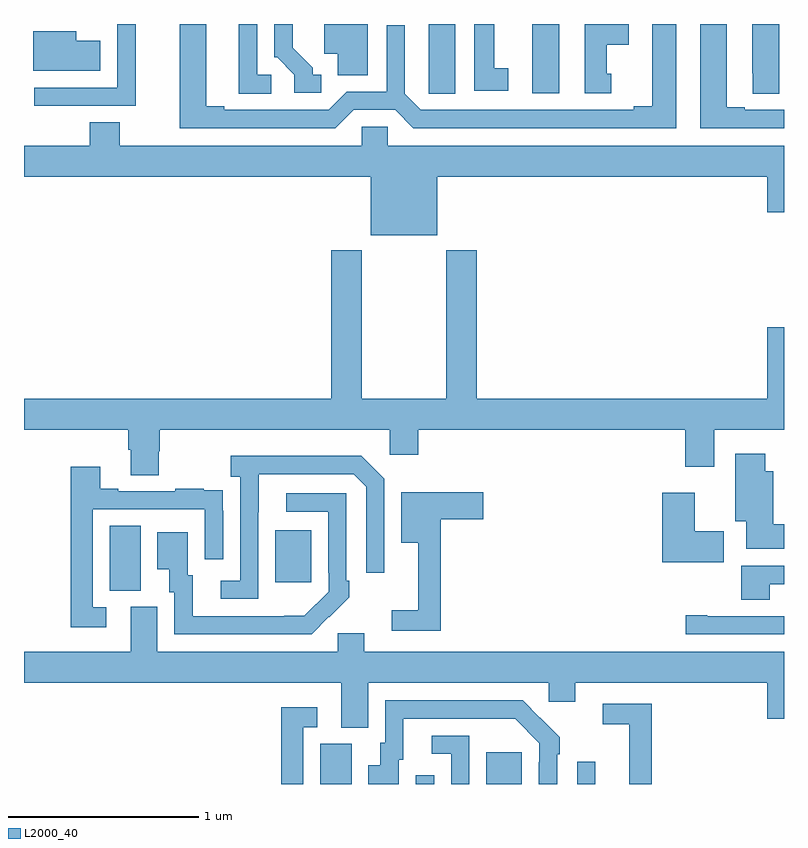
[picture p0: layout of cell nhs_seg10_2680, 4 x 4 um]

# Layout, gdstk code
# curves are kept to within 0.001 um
import gdstk
lib = gdstk.Library(unit=1e-6, precision=1e-09)
def R(c, l, rs):  # rectangles x0, y0, x1, y1
    for r in rs: c.add(gdstk.rectangle(r[:2], r[2:], *l))
def P(c, l, *ps):  # polygons
    for p in ps: c.add(gdstk.Polygon(p, *l))
L2000_40 = (2000, 40)

nhs_seg10_2680 = lib.new_cell('nhs_seg10_2680')
R(nhs_seg10_2680, L2000_40, [(258.56,1250.5,258.724,1250.712), (259.062,1250.5,259.158,1250.545), (259.433,1250.5,259.621,1250.668), (259.911,1250.5,260.007,1250.617), (257.45,1251.517,257.614,1251.86), (258.323,1251.561,258.511,1251.835), (259.676,1254.135,259.816,1254.5)])
P(nhs_seg10_2680, L2000_40, [(258.301,1254.234),(258.228,1254.234),(258.228,1254.5),(258.131,1254.5),(258.131,1254.133),(258.301,1254.133)],
  [(257.589,1254.5),(257.49,1254.5),(257.49,1254.165),(257.055,1254.165),(257.055,1254.069),(257.589,1254.069)],
  [(258.808,1254.5),(258.581,1254.5),(258.581,1254.344),(258.65,1254.344),(258.65,1254.229),(258.808,1254.229)],
  [(258.735,1254.048),(258.953,1254.048),(259.049,1253.952),(260.434,1253.952),(260.434,1254.5),(260.306,1254.5),(260.306,1254.068),(260.21,1254.068),(260.21,1254.048),(259.089,1254.048),(259.005,1254.132),(259.005,1254.493),(258.909,1254.493),(258.909,1254.144),(258.699,1254.144),(258.603,1254.048),(258.055,1254.048),(258.055,1254.068),(257.959,1254.068),(257.959,1254.5),(257.819,1254.5),(257.819,1253.952),(258.639,1253.952)],
  [(260.974,1254.5),(260.834,1254.5),(260.834,1254.241),(260.835,1254.241),(260.835,1254.133),(260.974,1254.133)],
  [(261,1254.048),(260.794,1254.048),(260.794,1254.063),(260.698,1254.063),(260.698,1254.5),(260.558,1254.5),(260.558,1253.952),(261,1253.952)],
  [(259.549,1254.266),(259.474,1254.266),(259.474,1254.5),(259.37,1254.5),(259.37,1254.15),(259.549,1254.15)],
  [(259.27,1254.5),(259.13,1254.5),(259.13,1254.241),(259.131,1254.241),(259.131,1254.133),(259.27,1254.133)],
  [(260.092,1254.237),(260.068,1254.237),(260.068,1254.392),(260.182,1254.392),(260.182,1254.5),(259.952,1254.5),(259.952,1254.135),(260.092,1254.135)],
  [(258.565,1254.234),(258.52,1254.234),(258.52,1254.269),(258.415,1254.374),(258.415,1254.5),(258.318,1254.5),(258.318,1254.324),(258.333,1254.324),(258.423,1254.234),(258.423,1254.138),(258.565,1254.138)],
  [(257.401,1254.412),(257.275,1254.412),(257.275,1254.463),(257.048,1254.463),(257.048,1254.254),(257.401,1254.254)],
  [(258.915,1253.958),(258.777,1253.958),(258.777,1253.86),(257.505,1253.86),(257.505,1253.984),(257.345,1253.984),(257.345,1253.86),(257,1253.86),(257,1253.696),(258.824,1253.696),(258.824,1253.387),(259.174,1253.387),(259.174,1253.696),(260.912,1253.696),(260.912,1253.508),(261,1253.508),(261,1253.86),(258.915,1253.86)],
  [(257.709,1252.251),(257.714,1252.251),(257.714,1252.364),(258.924,1252.364),(258.924,1252.233),(259.076,1252.233),(259.076,1252.364),(260.48,1252.364),(260.48,1252.17),(260.632,1252.17),(260.632,1252.364),(261,1252.364),(261,1252.903),(260.912,1252.903),(260.912,1252.528),(259.382,1252.528),(259.382,1253.308),(259.222,1253.308),(259.222,1252.528),(258.777,1252.528),(258.777,1253.308),(258.617,1253.308),(258.617,1252.528),(257,1252.528),(257,1252.364),(257.549,1252.364),(257.549,1252.258),(257.561,1252.258),(257.561,1252.126),(257.709,1252.126)],
  [(261,1251.868),(260.944,1251.868),(260.944,1252.147),(260.902,1252.147),(260.902,1252.237),(260.744,1252.237),(260.744,1251.884),(260.801,1251.884),(260.801,1251.737),(261,1251.737)],
  [(258.234,1251.931),(258.235,1252.131),(258.735,1252.131),(258.801,1252.065),(258.801,1251.612),(258.897,1251.612),(258.897,1252.107),(258.776,1252.228),(258.087,1252.228),(258.087,1252.118),(258.138,1252.118),(258.138,1251.57),(258.036,1251.57),(258.036,1251.474),(258.234,1251.474)],
  [(257.434,1251.429),(257.361,1251.429),(257.361,1251.945),(257.952,1251.945),(257.952,1251.684),(258.048,1251.684),(258.048,1251.938),(258.047,1251.938),(258.047,1252.047),(257.945,1252.047),(257.945,1252.054),(257.797,1252.054),(257.797,1252.041),(257.497,1252.041),(257.497,1252.054),(257.401,1252.054),(257.401,1252.171),(257.245,1252.171),(257.245,1251.324),(257.434,1251.324)],
  [(259.193,1251.893),(259.416,1251.893),(259.416,1252.035),(258.986,1252.035),(258.986,1251.77),(259.076,1251.77),(259.076,1251.415),(258.936,1251.415),(258.936,1251.306),(259.193,1251.306)],
  [(260.683,1251.831),(260.53,1251.831),(260.53,1252.033),(260.36,1252.033),(260.36,1251.668),(260.683,1251.668)],
  [(258.605,1251.379),(258.606,1251.378),(258.711,1251.483),(258.711,1251.571),(258.696,1251.571),(258.696,1252.029),(258.381,1252.029),(258.381,1251.933),(258.6,1251.933),(258.6,1251.613),(258.603,1251.613),(258.603,1251.513),(258.475,1251.385),(257.887,1251.384),(257.887,1251.6),(257.863,1251.6),(257.863,1251.826),(257.702,1251.826),(257.702,1251.629),(257.765,1251.629),(257.765,1251.51),(257.79,1251.51),(257.79,1251.288),(258.514,1251.288)],
  [(260.926,1251.552),(261,1251.552),(261,1251.648),(260.774,1251.648),(260.774,1251.469),(260.926,1251.469)],
  [(258.811,1251.032),(259.761,1251.032),(259.761,1250.934),(259.9,1250.934),(259.9,1251.032),(260.912,1251.032),(260.912,1250.844),(261,1250.844),(261,1251.196),(258.79,1251.196),(258.79,1251.294),(258.651,1251.294),(258.651,1251.196),(257.701,1251.196),(257.701,1251.432),(257.561,1251.432),(257.561,1251.196),(257,1251.196),(257,1251.032),(258.671,1251.032),(258.671,1250.797),(258.811,1250.797)],
  [(261,1251.384),(260.596,1251.384),(260.596,1251.389),(260.484,1251.389),(260.484,1251.288),(261,1251.288)],
  [(258.973,1250.628),(258.997,1250.628),(258.997,1250.844),(259.585,1250.844),(259.713,1250.715),(259.713,1250.615),(259.71,1250.615),(259.71,1250.5),(259.806,1250.5),(259.806,1250.657),(259.821,1250.657),(259.821,1250.745),(259.624,1250.94),(258.9,1250.94),(258.9,1250.718),(258.875,1250.718),(258.875,1250.599),(258.812,1250.599),(258.812,1250.5),(258.973,1250.5)],
  [(260.303,1250.922),(260.046,1250.922),(260.046,1250.814),(260.186,1250.814),(260.186,1250.5),(260.303,1250.5)],
  [(258.471,1250.799),(258.544,1250.799),(258.544,1250.905),(258.355,1250.905),(258.355,1250.5),(258.471,1250.5)],
  [(259.344,1250.754),(259.146,1250.754),(259.146,1250.658),(259.248,1250.658),(259.248,1250.5),(259.344,1250.5)])

lib.write_gds('nhs_seg10_2680.gds')
